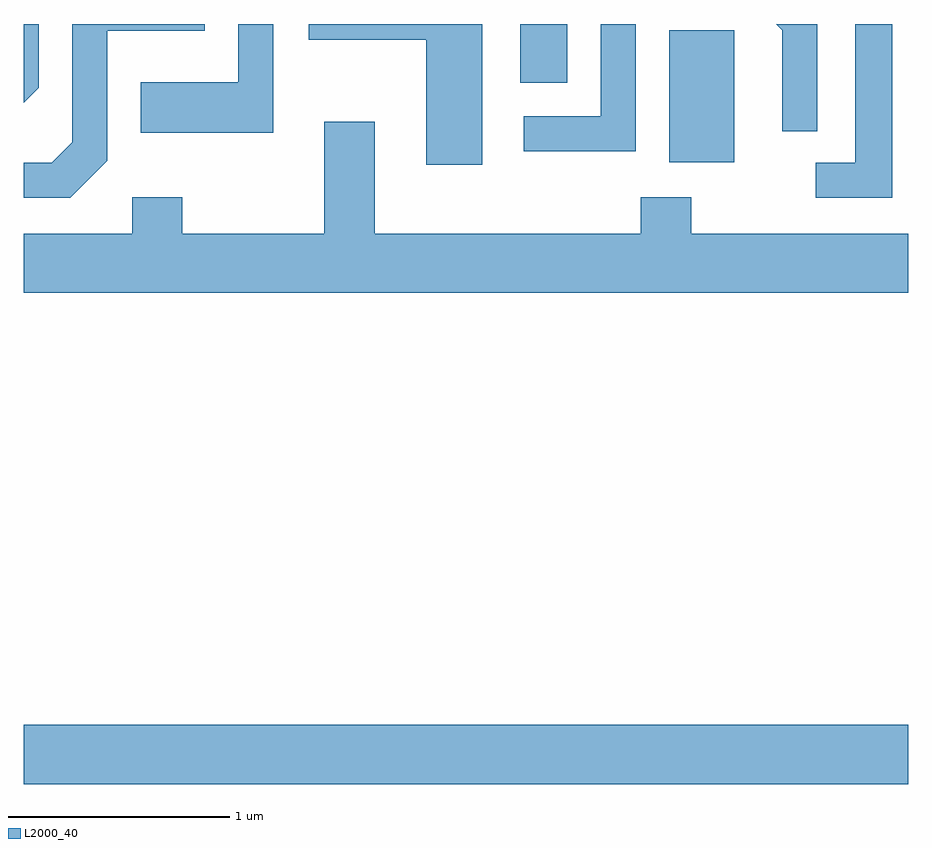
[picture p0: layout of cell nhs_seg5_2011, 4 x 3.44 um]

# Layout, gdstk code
import gdstk
lib = gdstk.Library(unit=1e-6, precision=1e-09)
def R(c, l, rs):  # rectangles x0, y0, x1, y1
    for r in rs: c.add(gdstk.rectangle(r[:2], r[2:], *l))
def P(c, l, *ps):  # polygons
    for p in ps: c.add(gdstk.Polygon(p, *l))
L2000_40 = (2000, 40)

nhs_seg5_2011 = lib.new_cell('nhs_seg5_2011')
R(nhs_seg5_2011, L2000_40, [(245.611,1394.636,249.611,1394.904), (248.531,1397.446,248.824,1398.044), (247.856,1397.806,248.069,1398.072)])
P(nhs_seg5_2011, L2000_40, [(249.539,1398.072),(249.371,1398.072),(249.371,1397.444),(249.193,1397.444),(249.193,1397.286),(249.539,1397.286)],
  [(246.739,1398.072),(246.581,1398.072),(246.581,1397.809),(246.141,1397.809),(246.141,1397.581),(246.739,1397.581)],
  [(247.684,1398.072),(246.901,1398.072),(246.901,1398.001),(247.431,1398.001),(247.431,1397.436),(247.684,1397.436)],
  [(248.379,1398.072),(248.221,1398.072),(248.221,1397.654),(247.873,1397.654),(247.873,1397.496),(248.379,1397.496)],
  [(249.199,1398.072),(249.013,1398.072),(249.041,1398.044),(249.041,1397.588),(249.199,1397.588)],
  [(245.989,1397.454),(245.989,1398.041),(246.429,1398.041),(246.429,1398.072),(245.831,1398.072),(245.831,1397.537),(245.739,1397.444),(245.611,1397.444),(245.611,1397.286),(245.822,1397.286)],
  [(245.679,1397.784),(245.679,1398.072),(245.611,1398.072),(245.611,1397.716)],
  [(249.611,1397.124),(248.629,1397.124),(248.629,1397.289),(248.401,1397.289),(248.401,1397.124),(247.199,1397.124),(247.199,1397.629),(246.971,1397.629),(246.971,1397.124),(246.329,1397.124),(246.329,1397.289),(246.101,1397.289),(246.101,1397.124),(245.611,1397.124),(245.611,1396.856),(249.611,1396.856)])

lib.write_gds('nhs_seg5_2011.gds')
